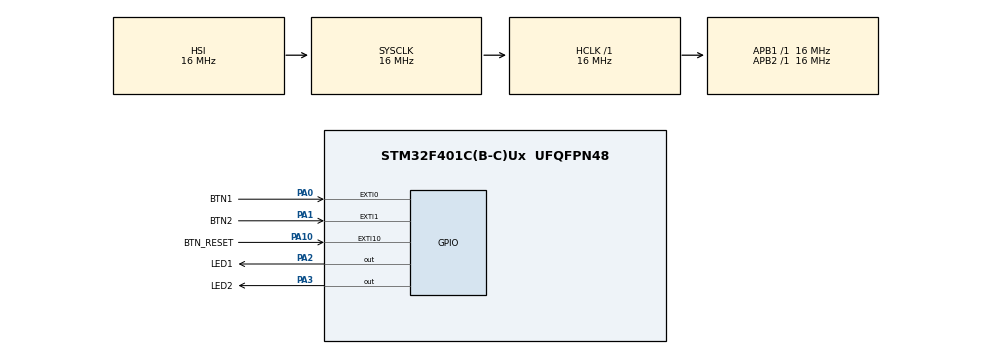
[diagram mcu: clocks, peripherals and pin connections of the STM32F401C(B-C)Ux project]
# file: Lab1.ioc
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Mcu.Family=STM32F4
Mcu.Name=STM32F401C(B-C)Ux
Mcu.Package=UFQFPN48
NVIC.EXTI0_IRQn=true\:1\:0\:true\:true\:true\:1\:true\:true\:true
NVIC.EXTI15_10_IRQn=true\:1\:0\:true\:true\:true\:3\:true\:true\:true
NVIC.EXTI1_IRQn=true\:1\:0\:true\:true\:true\:2\:true\:true\:true
NVIC.PriorityGroup=NVIC_PRIORITYGROUP_4
PA0-WKUP.GPIO_Label=BTN1
PA0-WKUP.GPIO_PuPd=GPIO_PULLUP
PA0-WKUP.Signal=GPXTI0
PA1.GPIO_Label=BTN2
PA1.GPIO_PuPd=GPIO_PULLUP
PA1.Signal=GPXTI1
PA10.GPIO_Label=BTN_RESET
PA10.GPIO_PuPd=GPIO_PULLUP
PA10.Signal=GPXTI10
PA13.Mode=Serial_Wire
PA13.Signal=SYS_JTMS-SWDIO
PA14.Mode=Serial_Wire
PA14.Signal=SYS_JTCK-SWCLK
PA2.GPIO_Label=LED1
PA2.PinState=GPIO_PIN_RESET
PA2.Signal=GPIO_Output
PA3.GPIO_Label=LED2
PA3.PinState=GPIO_PIN_RESET
PA3.Signal=GPIO_Output
ProjectManager.HeapSize=0x200
ProjectManager.StackSize=0x400
ProjectManager.TargetToolchain=STM32CubeIDE
RCC.AHBFreq_Value=16000000
RCC.APB1Freq_Value=16000000
RCC.APB2Freq_Value=16000000
RCC.CortexFreq_Value=16000000
RCC.HSE_VALUE=25000000
RCC.HSI_VALUE=16000000
RCC.LSE_VALUE=32768
RCC.SYSCLKFreq_VALUE=16000000
RCC.VCOOutputFreq_Value=192000000
board=custom

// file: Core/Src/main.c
/* USER CODE BEGIN Header */
/**
  ******************************************************************************
  * @file           : main.c
  * @brief          : Main program body
  ******************************************************************************
  * @attention
  *
  * Copyright (c) 2023 STMicroelectronics.
  * All rights reserved.
  *
  * This software is licensed under terms that can be found in the LICENSE file
  * in the root directory of this software component.
  * If no LICENSE file comes with this software, it is provided AS-IS.
  *
  ******************************************************************************
  */
/* USER CODE END Header */
#include "main.h"

/* USER CODE BEGIN PTD */

uint8_t gameOver = 0;

void HAL_GPIO_EXTI_Callback(uint16_t GPIO_Pin)
{
	if (GPIO_Pin == BTN_RESET_Pin) {
		 if (gameOver) {
			 gameOver = 0;
			 HAL_GPIO_WritePin(LED1_GPIO_Port, LED1_Pin, GPIO_PIN_RESET);
			 HAL_GPIO_WritePin(LED2_GPIO_Port, LED2_Pin, GPIO_PIN_RESET);
		 }

	 }

  if (gameOver == 1)
	   return;
  if (GPIO_Pin == BTN1_Pin) {
	  HAL_GPIO_WritePin(LED1_GPIO_Port, LED1_Pin, GPIO_PIN_SET);
	  gameOver = 1;
	  return;
  }
  if (GPIO_Pin == BTN2_Pin) {
  	  HAL_GPIO_WritePin(LED2_GPIO_Port, LED2_Pin, GPIO_PIN_SET);
  	  gameOver = 1;
  	  return;
    }

}

/* USER CODE END PTD */

void SystemClock_Config(void);
static void MX_GPIO_Init(void);
static void MX_NVIC_Init(void);

int main(void)
{

  /* MCU Configuration--------------------------------------------------------*/

  /* Reset of all peripherals, Initializes the Flash interface and the Systick. */
  HAL_Init();

  /* Configure the system clock */
  SystemClock_Config();

  /* Initialize all configured peripherals */
  MX_GPIO_Init();

  /* Initialize interrupts */
  MX_NVIC_Init();

  /* Infinite loop */
  while (1)
  {

  }
}

void SystemClock_Config(void)
{
  RCC_OscInitTypeDef RCC_OscInitStruct = {0};
  RCC_ClkInitTypeDef RCC_ClkInitStruct = {0};

  /** Configure the main internal regulator output voltage
  */
  __HAL_RCC_PWR_CLK_ENABLE();
  __HAL_PWR_VOLTAGESCALING_CONFIG(PWR_REGULATOR_VOLTAGE_SCALE2);

  /** Initializes the RCC Oscillators according to the specified parameters
  * in the RCC_OscInitTypeDef structure.
  */
  RCC_OscInitStruct.OscillatorType = RCC_OSCILLATORTYPE_HSI;
  RCC_OscInitStruct.HSIState = RCC_HSI_ON;
  RCC_OscInitStruct.HSICalibrationValue = RCC_HSICALIBRATION_DEFAULT;
  RCC_OscInitStruct.PLL.PLLState = RCC_PLL_NONE;
  if (HAL_RCC_OscConfig(&RCC_OscInitStruct) != HAL_OK)
  {
    Error_Handler();
  }

  /** Initializes the CPU, AHB and APB buses clocks
  */
  RCC_ClkInitStruct.ClockType = RCC_CLOCKTYPE_HCLK|RCC_CLOCKTYPE_SYSCLK
                              |RCC_CLOCKTYPE_PCLK1|RCC_CLOCKTYPE_PCLK2;
  RCC_ClkInitStruct.SYSCLKSource = RCC_SYSCLKSOURCE_HSI;
  RCC_ClkInitStruct.AHBCLKDivider = RCC_SYSCLK_DIV1;
  RCC_ClkInitStruct.APB1CLKDivider = RCC_HCLK_DIV1;
  RCC_ClkInitStruct.APB2CLKDivider = RCC_HCLK_DIV1;

  if (HAL_RCC_ClockConfig(&RCC_ClkInitStruct, FLASH_LATENCY_0) != HAL_OK)
  {
    Error_Handler();
  }
}

/**
  * @brief NVIC Configuration.
  * @retval None
  */
static void MX_NVIC_Init(void)
{
  /* EXTI0_IRQn interrupt configuration */
  HAL_NVIC_SetPriority(EXTI0_IRQn, 1, 0);
  HAL_NVIC_EnableIRQ(EXTI0_IRQn);
  /* EXTI1_IRQn interrupt configuration */
  HAL_NVIC_SetPriority(EXTI1_IRQn, 1, 0);
  HAL_NVIC_EnableIRQ(EXTI1_IRQn);
  /* EXTI15_10_IRQn interrupt configuration */
  HAL_NVIC_SetPriority(EXTI15_10_IRQn, 1, 0);
  HAL_NVIC_EnableIRQ(EXTI15_10_IRQn);
}

static void MX_GPIO_Init(void)
{
  GPIO_InitTypeDef GPIO_InitStruct = {0};

  /* GPIO Ports Clock Enable */
  __HAL_RCC_GPIOA_CLK_ENABLE();

  /*Configure GPIO pin Output Level */
  HAL_GPIO_WritePin(GPIOA, LED1_Pin|LED2_Pin, GPIO_PIN_RESET);

  /*Configure GPIO pins : BTN1_Pin BTN2_Pin BTN_RESET_Pin */
  GPIO_InitStruct.Pin = BTN1_Pin|BTN2_Pin|BTN_RESET_Pin;
  GPIO_InitStruct.Mode = GPIO_MODE_IT_RISING;
  GPIO_InitStruct.Pull = GPIO_PULLUP;
  HAL_GPIO_Init(GPIOA, &GPIO_InitStruct);

  /*Configure GPIO pins : LED1_Pin LED2_Pin */
  GPIO_InitStruct.Pin = LED1_Pin|LED2_Pin;
  GPIO_InitStruct.Mode = GPIO_MODE_OUTPUT_PP;
  GPIO_InitStruct.Pull = GPIO_NOPULL;
  GPIO_InitStruct.Speed = GPIO_SPEED_FREQ_LOW;
  HAL_GPIO_Init(GPIOA, &GPIO_InitStruct);

}

void Error_Handler(void)
{
  __disable_irq();
  while (1)
  {
  }
}
